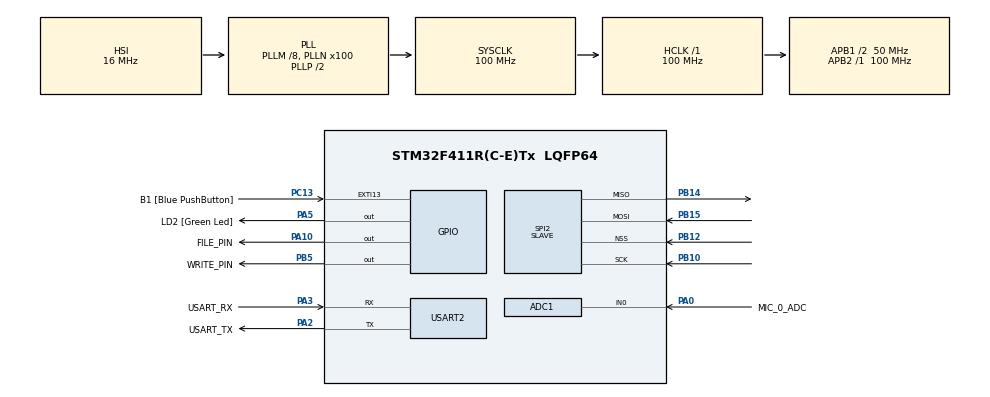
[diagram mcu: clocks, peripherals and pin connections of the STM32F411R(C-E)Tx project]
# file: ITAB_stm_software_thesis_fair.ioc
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ADC1.Channel-0\#ChannelRegularConversion=ADC_CHANNEL_0
ADC1.DMAContinuousRequests=ENABLE
ADC1.DataAlign=ADC_DATAALIGN_LEFT
ADC1.ExternalTrigConv=ADC_EXTERNALTRIGCONV_T2_TRGO
ADC1.NbrOfConversionFlag=1
ADC1.Rank-0\#ChannelRegularConversion=1
ADC1.SamplingTime-0\#ChannelRegularConversion=ADC_SAMPLETIME_144CYCLES
ADC1.master=1
Dma.ADC1.0.Direction=DMA_PERIPH_TO_MEMORY
Dma.ADC1.0.FIFOMode=DMA_FIFOMODE_DISABLE
Dma.ADC1.0.Instance=DMA2_Stream0
Dma.ADC1.0.MemDataAlignment=DMA_MDATAALIGN_HALFWORD
Dma.ADC1.0.MemInc=DMA_MINC_ENABLE
Dma.ADC1.0.Mode=DMA_CIRCULAR
Dma.ADC1.0.PeriphDataAlignment=DMA_PDATAALIGN_HALFWORD
Dma.ADC1.0.PeriphInc=DMA_PINC_DISABLE
Dma.ADC1.0.Priority=DMA_PRIORITY_HIGH
Dma.Request0=ADC1
Mcu.Family=STM32F4
Mcu.Name=STM32F411R(C-E)Tx
Mcu.Package=LQFP64
NVIC.DMA2_Stream0_IRQn=true\:0\:0\:false\:false\:true\:false\:true\:true
NVIC.PriorityGroup=NVIC_PRIORITYGROUP_0
PA0-WKUP.GPIO_Label=MIC_0_ADC
PA0-WKUP.Signal=ADCx_IN0
PA10.GPIO_Label=FILE_PIN
PA10.Signal=GPIO_Output
PA13.GPIO_Label=TMS
PA13.Mode=Serial_Wire
PA13.Signal=SYS_JTMS-SWDIO
PA14.GPIO_Label=TCK
PA14.Mode=Serial_Wire
PA14.Signal=SYS_JTCK-SWCLK
PA2.GPIO_Label=USART_TX
PA2.Mode=Asynchronous
PA2.Signal=USART2_TX
PA3.GPIO_Label=USART_RX
PA3.Mode=Asynchronous
PA3.Signal=USART2_RX
PA5.GPIO_Label=LD2 [Green Led]
PA5.Signal=GPIO_Output
PB10.Mode=Full_Duplex_Slave
PB10.Signal=SPI2_SCK
PB12.Mode=NSS_Signal_Hard_Input
PB12.Signal=SPI2_NSS
PB14.Mode=Full_Duplex_Slave
PB14.Signal=SPI2_MISO
PB15.Mode=Full_Duplex_Slave
PB15.Signal=SPI2_MOSI
PB3.GPIO_Label=SWO
PB3.Signal=SYS_JTDO-SWO
PB5.GPIO_Label=WRITE_PIN
PB5.Signal=GPIO_Output
PC13-ANTI_TAMP.GPIO_Label=B1 [Blue PushButton]
PC13-ANTI_TAMP.GPIO_ModeDefaultEXTI=GPIO_MODE_IT_FALLING
PC13-ANTI_TAMP.Signal=GPXTI13
PC14-OSC32_IN.Mode=LSE-External-Oscillator
PC14-OSC32_IN.Signal=RCC_OSC32_IN
PC15-OSC32_OUT.Mode=LSE-External-Oscillator
PC15-OSC32_OUT.Signal=RCC_OSC32_OUT
PH0\ -\ OSC_IN.Mode=HSE-External-Clock-Source
PH0\ -\ OSC_IN.Signal=RCC_OSC_IN
PH1\ -\ OSC_OUT.Mode=HSE-External-Clock-Source
PH1\ -\ OSC_OUT.Signal=RCC_OSC_OUT
ProjectManager.HeapSize=0x200
ProjectManager.StackSize=0x400
ProjectManager.TargetToolchain=STM32CubeIDE
RCC.48MHZClocksFreq_Value=50000000
RCC.AHBFreq_Value=100000000
RCC.APB1CLKDivider=RCC_HCLK_DIV2
RCC.APB1Freq_Value=50000000
RCC.APB1TimFreq_Value=100000000
RCC.APB2Freq_Value=100000000
RCC.APB2TimFreq_Value=100000000
RCC.CortexFreq_Value=100000000
RCC.FLatency-AdvancedSettings=FLASH_LATENCY_3
RCC.HCLKFreq_Value=100000000
RCC.HSE_VALUE=8000000
RCC.HSI_VALUE=16000000
RCC.PLLM=8
RCC.PLLN=100
RCC.SYSCLKFreq_VALUE=100000000
RCC.SYSCLKSource=RCC_SYSCLKSOURCE_PLLCLK
RCC.VCOOutputFreq_Value=200000000
SH.ADCx_IN0.0=ADC1_IN0,IN0
SPI2.Direction=SPI_DIRECTION_2LINES
SPI2.Mode=SPI_MODE_SLAVE
SPI2.VirtualNSS=VM_NSSHARD
SPI2.VirtualType=VM_SLAVE
TIM2.Channel-PWM\ Generation1\ No\ Output=TIM_CHANNEL_1
TIM2.Period=2082
TIM2.TIM_MasterOutputTrigger=TIM_TRGO_UPDATE
USART2.VirtualMode=VM_ASYNC
VP_TIM2_VS_ClockSourceINT.Mode=Internal
VP_TIM2_VS_no_output1.Mode=PWM Generation1 No Output
board=NUCLEO-F411RE

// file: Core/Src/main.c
/* USER CODE BEGIN Header */
/**
  ******************************************************************************
  * @file           : main.c
  * @brief          : Main program body
  ******************************************************************************
  * @attention
  *
  * Copyright (c) 2025 STMicroelectronics.
  * All rights reserved.
  *
  * This software is licensed under terms that can be found in the LICENSE file
  * in the root directory of this software component.
  * If no LICENSE file comes with this software, it is provided AS-IS.
  *
  ******************************************************************************
  */
/* USER CODE END Header */
#include "main.h"

/* USER CODE BEGIN Includes */
#include "rpi_communication.h"
/* USER CODE END Includes */

/* USER CODE BEGIN PD */
#define ADC_BUFFER_SIZE 16384
#define RECORDING_TIME_MS 6250

#define RECORDING_TIME_SAMPLES RECORDING_TIME_MS*96
/* USER CODE END PD */

ADC_HandleTypeDef hadc1;
DMA_HandleTypeDef hdma_adc1;

SPI_HandleTypeDef hspi2;

TIM_HandleTypeDef htim2;

UART_HandleTypeDef huart2;

/* USER CODE BEGIN PV */
uint16_t adc_buffer[ADC_BUFFER_SIZE];
unsigned int bytes_written;
unsigned int total_bytes_written;

/* USER CODE END PV */

void SystemClock_Config(void);
static void MX_GPIO_Init(void);
static void MX_DMA_Init(void);
static void MX_USART2_UART_Init(void);
static void MX_ADC1_Init(void);
static void MX_TIM2_Init(void);
static void MX_SPI2_Init(void);

/* USER CODE BEGIN 0 */
void start_recording(){
	total_bytes_written = 0;
	HAL_ADC_Start_DMA(&hadc1, (uint32_t*)adc_buffer, ADC_BUFFER_SIZE);
	HAL_TIM_PWM_Start(&htim2, TIM_CHANNEL_1);
}

void stop_recording(){
	HAL_ADC_Stop_DMA(&hadc1);
	HAL_TIM_PWM_Stop(&htim2, TIM_CHANNEL_1);
}

void adjust_to_offset(uint16_t* buffer, uint32_t length){
	int16_t offset = 24824;
	for(int i = 0; i < length; i++){
		buffer[i] = buffer[i]-offset;
	}
}

void HAL_ADC_ConvHalfCpltCallback(ADC_HandleTypeDef* hadc){

	adjust_to_offset(adc_buffer, ADC_BUFFER_SIZE/2);

	if(write_data_to_pi(&hspi2, adc_buffer, ADC_BUFFER_SIZE/2 * sizeof(uint16_t), &bytes_written) == 1){
		total_bytes_written += bytes_written;
		bytes_written = 0;
	}else{
		stop_recording();
	}
}

void HAL_ADC_ConvCpltCallback(ADC_HandleTypeDef *hadc)
{

	adjust_to_offset(adc_buffer+ADC_BUFFER_SIZE/2, ADC_BUFFER_SIZE/2);

	if(write_data_to_pi(&hspi2,adc_buffer+(ADC_BUFFER_SIZE/2), ADC_BUFFER_SIZE/2 * sizeof(uint16_t), &bytes_written) == 1){
		total_bytes_written += bytes_written;
		bytes_written = 0;
	}else{
		stop_recording();
	}
}

/* USER CODE END 0 */

int main(void)
{

  /* USER CODE BEGIN 1 */
	bytes_written = 0;
	total_bytes_written = 0;

  /* USER CODE END 1 */

  /* MCU Configuration--------------------------------------------------------*/

  /* Reset of all peripherals, Initializes the Flash interface and the Systick. */
  HAL_Init();

  /* Configure the system clock */
  SystemClock_Config();

  /* Initialize all configured peripherals */
  MX_GPIO_Init();
  MX_DMA_Init();
  MX_USART2_UART_Init();
  MX_ADC1_Init();
  MX_TIM2_Init();
  MX_SPI2_Init();
  /* USER CODE BEGIN 2 */

	uint8_t uart_buffer[1];

	//Wait for mount command
	while(1){
		if(HAL_UART_Receive(&huart2, uart_buffer, 1, HAL_MAX_DELAY) == HAL_OK){
			if(uart_buffer[0] == 0xFF){
				break;
			}else{
				uart_buffer[0] = 0x03;
				HAL_UART_Transmit(&huart2, uart_buffer, 1, 1000);
			}
		}
	}

	uart_buffer[0] = 0xF1;
	HAL_UART_Transmit(&huart2, uart_buffer, 1, 1000);
  /* USER CODE END 2 */

  /* Infinite loop */
  /* USER CODE BEGIN WHILE */
  while (1)
  {

	  if(HAL_UART_Receive(&huart2, uart_buffer, 1, HAL_MAX_DELAY) == HAL_OK){

			if(uart_buffer[0] == 0x7F)
				break;

			HAL_GPIO_WritePin(FILE_PIN_GPIO_Port, FILE_PIN_Pin, GPIO_PIN_SET);

			create_wave_file(&hspi2);

			HAL_GPIO_WritePin(LD2_GPIO_Port, LD2_Pin, GPIO_PIN_SET);
			start_recording();
			while(total_bytes_written < RECORDING_TIME_SAMPLES){}
			stop_recording();
			HAL_GPIO_WritePin(LD2_GPIO_Port, LD2_Pin, GPIO_PIN_RESET);

			if(!write_file_length_to_pi(&hspi2, &total_bytes_written)){
				//Send error...
				uart_buffer[0] = 0x02;
				HAL_UART_Transmit(&huart2, uart_buffer, 1, 1000);
				NVIC_SystemReset();
			}
			HAL_GPIO_WritePin(FILE_PIN_GPIO_Port, FILE_PIN_Pin, GPIO_PIN_RESET);

			//Successful recording
			uart_buffer[0] = 0xF0;
			HAL_UART_Transmit(&huart2, uart_buffer, 1, 1000);

	  	}
    /* USER CODE END WHILE */

    /* USER CODE BEGIN 3 */
  }
	uart_buffer[0] = 0xF2;
	HAL_UART_Transmit(&huart2, uart_buffer, 1, 1000);

	NVIC_SystemReset();
  /* USER CODE END 3 */
}

void SystemClock_Config(void)
{
  RCC_OscInitTypeDef RCC_OscInitStruct = {0};
  RCC_ClkInitTypeDef RCC_ClkInitStruct = {0};

  /** Configure the main internal regulator output voltage
  */
  __HAL_RCC_PWR_CLK_ENABLE();
  __HAL_PWR_VOLTAGESCALING_CONFIG(PWR_REGULATOR_VOLTAGE_SCALE1);

  /** Initializes the RCC Oscillators according to the specified parameters
  * in the RCC_OscInitTypeDef structure.
  */
  RCC_OscInitStruct.OscillatorType = RCC_OSCILLATORTYPE_HSI;
  RCC_OscInitStruct.HSIState = RCC_HSI_ON;
  RCC_OscInitStruct.HSICalibrationValue = RCC_HSICALIBRATION_DEFAULT;
  RCC_OscInitStruct.PLL.PLLState = RCC_PLL_ON;
  RCC_OscInitStruct.PLL.PLLSource = RCC_PLLSOURCE_HSI;
  RCC_OscInitStruct.PLL.PLLM = 8;
  RCC_OscInitStruct.PLL.PLLN = 100;
  RCC_OscInitStruct.PLL.PLLP = RCC_PLLP_DIV2;
  RCC_OscInitStruct.PLL.PLLQ = 4;
  if (HAL_RCC_OscConfig(&RCC_OscInitStruct) != HAL_OK)
  {
    Error_Handler();
  }

  /** Initializes the CPU, AHB and APB buses clocks
  */
  RCC_ClkInitStruct.ClockType = RCC_CLOCKTYPE_HCLK|RCC_CLOCKTYPE_SYSCLK
                              |RCC_CLOCKTYPE_PCLK1|RCC_CLOCKTYPE_PCLK2;
  RCC_ClkInitStruct.SYSCLKSource = RCC_SYSCLKSOURCE_PLLCLK;
  RCC_ClkInitStruct.AHBCLKDivider = RCC_SYSCLK_DIV1;
  RCC_ClkInitStruct.APB1CLKDivider = RCC_HCLK_DIV2;
  RCC_ClkInitStruct.APB2CLKDivider = RCC_HCLK_DIV1;

  if (HAL_RCC_ClockConfig(&RCC_ClkInitStruct, FLASH_LATENCY_3) != HAL_OK)
  {
    Error_Handler();
  }
}

static void MX_ADC1_Init(void)
{

  ADC_ChannelConfTypeDef sConfig = {0};

  /** Configure the global features of the ADC (Clock, Resolution, Data Alignment and number of conversion)
  */
  hadc1.Instance = ADC1;
  hadc1.Init.ClockPrescaler = ADC_CLOCK_SYNC_PCLK_DIV4;
  hadc1.Init.Resolution = ADC_RESOLUTION_12B;
  hadc1.Init.ScanConvMode = DISABLE;
  hadc1.Init.ContinuousConvMode = DISABLE;
  hadc1.Init.DiscontinuousConvMode = DISABLE;
  hadc1.Init.ExternalTrigConvEdge = ADC_EXTERNALTRIGCONVEDGE_RISING;
  hadc1.Init.ExternalTrigConv = ADC_EXTERNALTRIGCONV_T2_TRGO;
  hadc1.Init.DataAlign = ADC_DATAALIGN_LEFT;
  hadc1.Init.NbrOfConversion = 1;
  hadc1.Init.DMAContinuousRequests = ENABLE;
  hadc1.Init.EOCSelection = ADC_EOC_SINGLE_CONV;
  if (HAL_ADC_Init(&hadc1) != HAL_OK)
  {
    Error_Handler();
  }

  /** Configure for the selected ADC regular channel its corresponding rank in the sequencer and its sample time.
  */
  sConfig.Channel = ADC_CHANNEL_0;
  sConfig.Rank = 1;
  sConfig.SamplingTime = ADC_SAMPLETIME_144CYCLES;
  if (HAL_ADC_ConfigChannel(&hadc1, &sConfig) != HAL_OK)
  {
    Error_Handler();
  }

}

static void MX_SPI2_Init(void)
{

  /* SPI2 parameter configuration*/
  hspi2.Instance = SPI2;
  hspi2.Init.Mode = SPI_MODE_SLAVE;
  hspi2.Init.Direction = SPI_DIRECTION_2LINES;
  hspi2.Init.DataSize = SPI_DATASIZE_8BIT;
  hspi2.Init.CLKPolarity = SPI_POLARITY_LOW;
  hspi2.Init.CLKPhase = SPI_PHASE_1EDGE;
  hspi2.Init.NSS = SPI_NSS_HARD_INPUT;
  hspi2.Init.FirstBit = SPI_FIRSTBIT_MSB;
  hspi2.Init.TIMode = SPI_TIMODE_DISABLE;
  hspi2.Init.CRCCalculation = SPI_CRCCALCULATION_DISABLE;
  hspi2.Init.CRCPolynomial = 10;
  if (HAL_SPI_Init(&hspi2) != HAL_OK)
  {
    Error_Handler();
  }

}

static void MX_TIM2_Init(void)
{

  TIM_ClockConfigTypeDef sClockSourceConfig = {0};
  TIM_MasterConfigTypeDef sMasterConfig = {0};
  TIM_OC_InitTypeDef sConfigOC = {0};

  htim2.Instance = TIM2;
  htim2.Init.Prescaler = 0;
  htim2.Init.CounterMode = TIM_COUNTERMODE_UP;
  htim2.Init.Period = 2082;
  htim2.Init.ClockDivision = TIM_CLOCKDIVISION_DIV1;
  htim2.Init.AutoReloadPreload = TIM_AUTORELOAD_PRELOAD_DISABLE;
  if (HAL_TIM_Base_Init(&htim2) != HAL_OK)
  {
    Error_Handler();
  }
  sClockSourceConfig.ClockSource = TIM_CLOCKSOURCE_INTERNAL;
  if (HAL_TIM_ConfigClockSource(&htim2, &sClockSourceConfig) != HAL_OK)
  {
    Error_Handler();
  }
  if (HAL_TIM_PWM_Init(&htim2) != HAL_OK)
  {
    Error_Handler();
  }
  sMasterConfig.MasterOutputTrigger = TIM_TRGO_UPDATE;
  sMasterConfig.MasterSlaveMode = TIM_MASTERSLAVEMODE_DISABLE;
  if (HAL_TIMEx_MasterConfigSynchronization(&htim2, &sMasterConfig) != HAL_OK)
  {
    Error_Handler();
  }
  sConfigOC.OCMode = TIM_OCMODE_PWM1;
  sConfigOC.Pulse = 0;
  sConfigOC.OCPolarity = TIM_OCPOLARITY_HIGH;
  sConfigOC.OCFastMode = TIM_OCFAST_DISABLE;
  if (HAL_TIM_PWM_ConfigChannel(&htim2, &sConfigOC, TIM_CHANNEL_1) != HAL_OK)
  {
    Error_Handler();
  }

}

static void MX_USART2_UART_Init(void)
{

  huart2.Instance = USART2;
  huart2.Init.BaudRate = 115200;
  huart2.Init.WordLength = UART_WORDLENGTH_8B;
  huart2.Init.StopBits = UART_STOPBITS_1;
  huart2.Init.Parity = UART_PARITY_NONE;
  huart2.Init.Mode = UART_MODE_TX_RX;
  huart2.Init.HwFlowCtl = UART_HWCONTROL_NONE;
  huart2.Init.OverSampling = UART_OVERSAMPLING_16;
  if (HAL_UART_Init(&huart2) != HAL_OK)
  {
    Error_Handler();
  }

}

static void MX_DMA_Init(void)
{

  /* DMA controller clock enable */
  __HAL_RCC_DMA2_CLK_ENABLE();

  /* DMA interrupt init */
  /* DMA2_Stream0_IRQn interrupt configuration */
  HAL_NVIC_SetPriority(DMA2_Stream0_IRQn, 0, 0);
  HAL_NVIC_EnableIRQ(DMA2_Stream0_IRQn);

}

static void MX_GPIO_Init(void)
{
  GPIO_InitTypeDef GPIO_InitStruct = {0};

  /* GPIO Ports Clock Enable */
  __HAL_RCC_GPIOC_CLK_ENABLE();
  __HAL_RCC_GPIOH_CLK_ENABLE();
  __HAL_RCC_GPIOA_CLK_ENABLE();
  __HAL_RCC_GPIOB_CLK_ENABLE();

  /*Configure GPIO pin Output Level */
  HAL_GPIO_WritePin(GPIOA, LD2_Pin|FILE_PIN_Pin, GPIO_PIN_RESET);

  /*Configure GPIO pin Output Level */
  HAL_GPIO_WritePin(WRITE_PIN_GPIO_Port, WRITE_PIN_Pin, GPIO_PIN_RESET);

  /*Configure GPIO pin : B1_Pin */
  GPIO_InitStruct.Pin = B1_Pin;
  GPIO_InitStruct.Mode = GPIO_MODE_IT_FALLING;
  GPIO_InitStruct.Pull = GPIO_NOPULL;
  HAL_GPIO_Init(B1_GPIO_Port, &GPIO_InitStruct);

  /*Configure GPIO pins : LD2_Pin FILE_PIN_Pin */
  GPIO_InitStruct.Pin = LD2_Pin|FILE_PIN_Pin;
  GPIO_InitStruct.Mode = GPIO_MODE_OUTPUT_PP;
  GPIO_InitStruct.Pull = GPIO_NOPULL;
  GPIO_InitStruct.Speed = GPIO_SPEED_FREQ_LOW;
  HAL_GPIO_Init(GPIOA, &GPIO_InitStruct);

  /*Configure GPIO pin : WRITE_PIN_Pin */
  GPIO_InitStruct.Pin = WRITE_PIN_Pin;
  GPIO_InitStruct.Mode = GPIO_MODE_OUTPUT_PP;
  GPIO_InitStruct.Pull = GPIO_NOPULL;
  GPIO_InitStruct.Speed = GPIO_SPEED_FREQ_LOW;
  HAL_GPIO_Init(WRITE_PIN_GPIO_Port, &GPIO_InitStruct);

}

void Error_Handler(void)
{
  __disable_irq();
  while (1)
  {
  }
}
